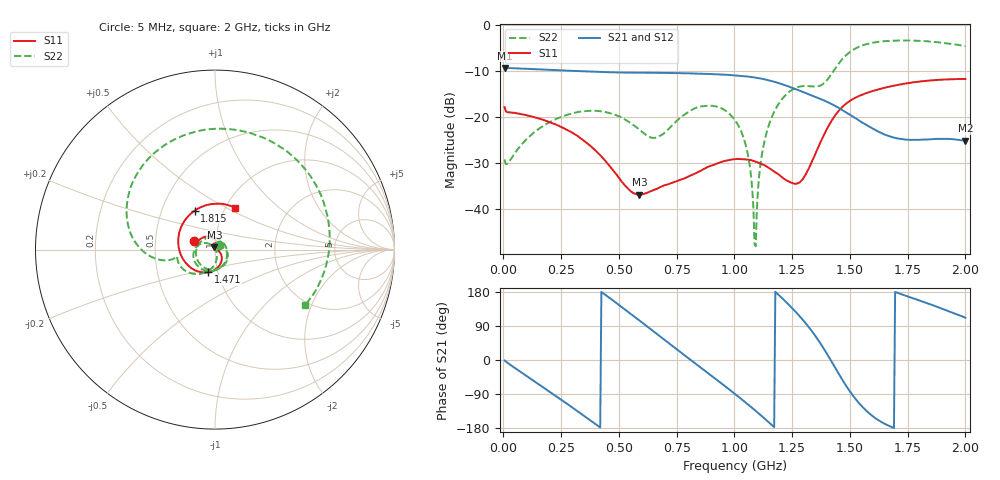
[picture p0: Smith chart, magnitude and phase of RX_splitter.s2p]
! Created with skrf (http://scikit-rf.org).
# Hz S RI R 50.0
!freq ReS11 ImS11 ReS21 ImS21 ReS12 ImS12 ReS22 ImS22
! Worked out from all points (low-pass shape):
!   401 points, 5 MHz to 2 GHz, reference 50 ohm
!   highest |S21| = -9.33 dB at 5 MHz (marker M1); lowest = -25.2 dB at 2 GHz (marker M2)
!   |S21| within 3 dB of the highest: start of sweep to 1.171 GHz
!   lowest |S11| = -36.9 dB at 588.5 MHz (marker M3), VSWR 1.03, Z = 49.6 + j1.37 ohm
!   |S11| at or under -10 dB: start of sweep to end of sweep
!   |S22| runs from -48.1 to -3.4 dB; largest |S21 - S12| = 0.00063
!   S11 on the Smith chart (normalised r, x): 5 MHz: 0.78, +0.07; 1.471 GHz: 0.90, -0.23; 1.815 GHz: 0.73, +0.34; 2 GHz: 1.10, +0.55
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5000000  -0.1192 0.0461  0.3415 -0.00823  0.3415 -0.00841  0.0196 0.0283
1.7956e8  -0.0585 0.0706  0.0842 -0.3159  0.0841 -0.3163  0.0712 -0.0405
3.3916e8  -0.00162 0.0574  -0.2501 -0.1887  -0.2506 -0.1887  -0.0237 -0.1122
4.5886e8  0.00795 0.0283  -0.2944 0.0842  -0.2943 0.0845  -0.1051 -0.033
5.8854e8  -0.00354 0.0138  -0.075 0.2932  -0.0748 0.2933  -0.0266 0.0677
6.7332e8  -0.00906 0.0143  0.1296 0.272  0.1298 0.2719  0.0574 0.0218
8.5288e8  -0.0143 0.0216  0.2783 -0.0981  0.2782 -0.0985  -0.0596 -0.115
1.00749e9  0.00178 0.0348  -0.01 -0.2826  -0.0103 -0.283  -0.0826 0.0309
1.05736e9  0.0131 0.0317  -0.1229 -0.2461  -0.1233 -0.2459  -0.0268 0.0294
1.07233e9  0.0163 0.0296  -0.1525 -0.2251  -0.1527 -0.225  -0.0119 0.0189
1.0823e9  0.0182 0.0277  -0.1705 -0.209  -0.1707 -0.2089  -0.00334 0.00946
1.09228e9  0.02 0.0256  -0.1868 -0.1912  -0.187 -0.191  0.00356 -0.00163
1.11721e9  0.0236 0.0197  -0.2195 -0.1405  -0.2193 -0.1403  0.0112 -0.0348
1.1621e9  0.0254 0.00775  -0.2426 -0.0357  -0.2423 -0.0356  -0.0143 -0.0989
1.27183e9  0.0173 -0.0076  -0.1069 0.1666  -0.1067 0.1664  -0.1819 -0.1048
1.33666e9  0.0283 -0.0171  0.0441 0.1648  0.0441 0.1648  -0.2106 -0.0422
1.47133e9  -0.0363 -0.1263  0.065 -0.0974  0.065 -0.0974  -0.436 0.0298
1.55113e9  -0.1492 -0.0884  -0.0462 -0.0742  -0.0462 -0.0742  -0.4522 0.3899
1.67083e9  -0.2042 0.0617  -0.0611 -0.00618  -0.0611 -0.00616  0.00352 0.673
1.81546e9  -0.1123 0.2176  -0.051 0.0246  -0.0509 0.0245  0.5419 0.3938
1.90524e9  -0.00592 0.2549  -0.0401 0.0416  -0.0401 0.0416  0.6387 0.0357
2e9  0.1103 0.2342  -0.0203 0.0512  -0.0203 0.0511  0.502 -0.3104
